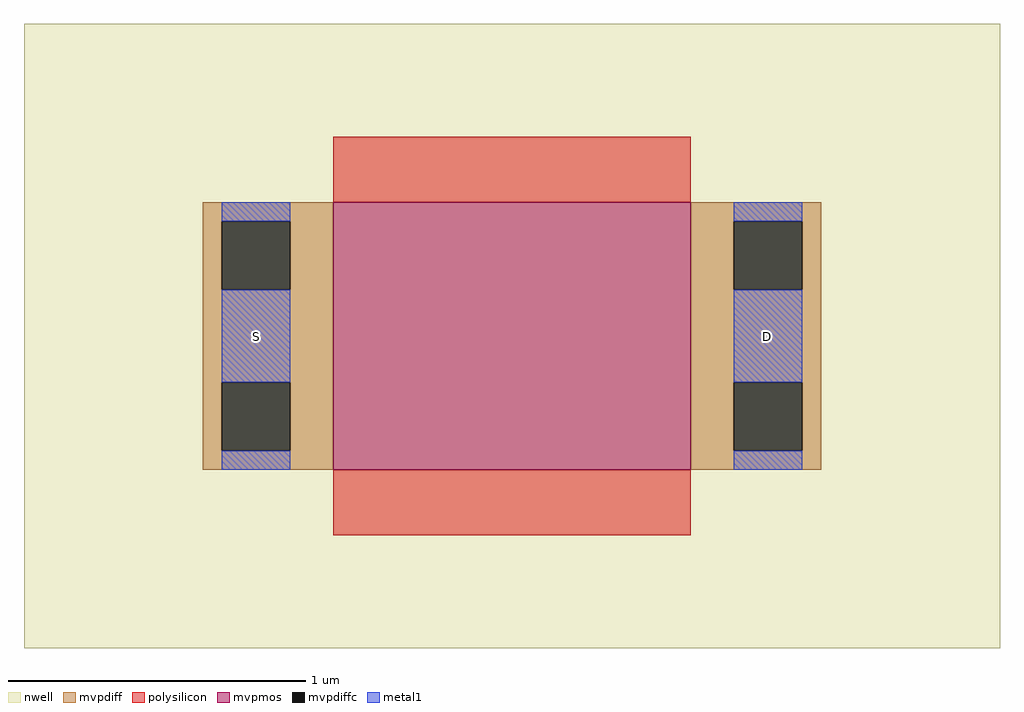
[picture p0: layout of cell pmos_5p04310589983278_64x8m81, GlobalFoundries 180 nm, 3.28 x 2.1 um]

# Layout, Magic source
magic
tech gf180mcuA
magscale 1 10
<< nwell >>
rect -208 -120 448 300
<< mvpmos >>
rect 0 0 240 180
<< mvpdiff >>
rect -88 167 0 180
rect -88 121 -75 167
rect -29 121 0 167
rect -88 59 0 121
rect -88 13 -75 59
rect -29 13 0 59
rect -88 0 0 13
rect 240 167 328 180
rect 240 121 269 167
rect 315 121 328 167
rect 240 59 328 121
rect 240 13 269 59
rect 315 13 328 59
rect 240 0 328 13
<< mvpdiffc >>
rect -75 121 -29 167
rect -75 13 -29 59
rect 269 121 315 167
rect 269 13 315 59
<< polysilicon >>
rect 0 180 240 224
rect 0 -44 240 0
<< metal1 >>
rect -75 167 -29 180
rect -75 59 -29 121
rect -75 0 -29 13
rect 269 167 315 180
rect 269 59 315 121
rect 269 0 315 13
<< labels >>
flabel metal1 s -52 90 -52 90 0 FreeSans 400 0 0 0 S
flabel metal1 s 292 90 292 90 0 FreeSans 400 0 0 0 D
<< properties >>
string GDS_END 759616
string GDS_FILE $PDKPATH/libs.ref/gf180mcu_fd_ip_sram/gds/gf180mcu_fd_ip_sram__sram64x8m8wm1.gds
string GDS_START 758400
<< end >>
